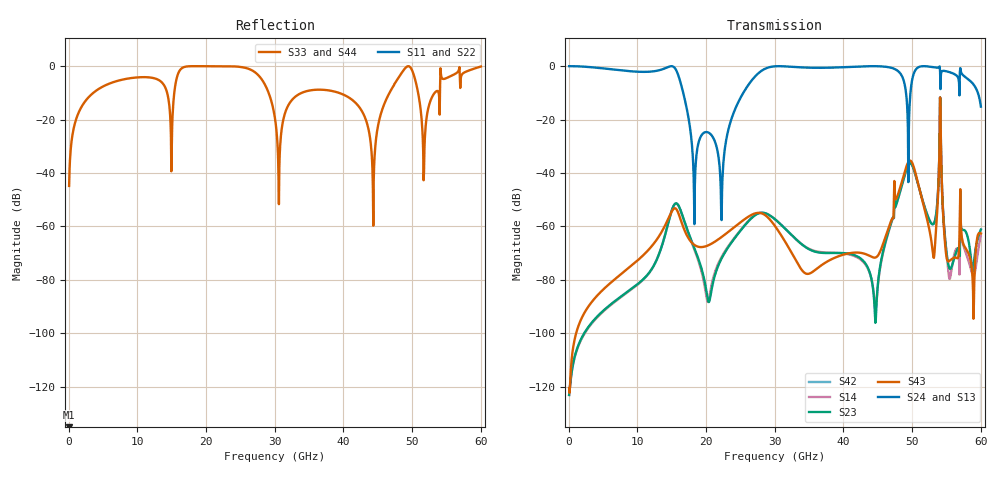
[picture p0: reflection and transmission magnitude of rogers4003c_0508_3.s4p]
! TOUCHSTONE file generated by CST MICROWAVE STUDIO
! Date and time: Wed Apr 16 11:32:49 2025
! Project name: LOSSLESS_rogers4003c_air_gapped_wideband_balanced.cst
! Parameters = {h=2; lambda=10; period=5; phi=0; theta=0; thickness=0.508; w_mesh_1=2; w_mesh_2=2; w_patch_1=1.6; w_patch_2=1.6}
! Header version: 2018
! Port assignment regex: !\s*Touchstone port\s*([0-9]+)\s*=\s*(CST MWS port|CST DS port)\s*([0-9]+|Zmin|Zmax)\s*\(\"(.*)\"\)(\s*mode\s*([0-9]+))?.*
! Touchstone port assignment:
! Touchstone port 1 = CST MWS port Zmin ("") mode 1
! Touchstone port 2 = CST MWS port Zmin ("") mode 2
! Touchstone port 3 = CST MWS port Zmax ("") mode 1
! Touchstone port 4 = CST MWS port Zmax ("") mode 2
! S-Parameters are not renormalized. Unphysical impedance of 50 will be written to the file.
# GHz S RI R 50
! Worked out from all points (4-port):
!   1002 points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, 60 MHz to 60 GHz, reference per port
!   strongest paths, dB at 60 MHz, 15 GHz, 30 GHz, 45 GHz, 60 GHz:
!     S24: 0.0, 0.0, -0.1, 0.0, -15.2
!     S13: 0.0, 0.0, -0.1, 0.0, -15.1
!     S43: -120.6, -54.4, -59.8, -71.0, -62.6
!     S23: -123.1, -54.0, -57.3, -81.8, -61.2
!     S14: -123.2, -54.1, -57.2, -82.2, -63.0
!     S42: -, -, -, -, -
!   lowest |S11| = - dB at 60 MHz (marker M1), VSWR 1.00
!   |S11| at or under -10 dB: start of sweep to end of sweep
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0.06  0 0  0 0  0.9999 -0.00567  1.05e-07 -6.87e-07
      0 0  0 0  1.16e-07 -6.9e-07  0.9999 -0.00567
      0 0  0 0  7.77e-06 -0.00572  3.52e-07 -8.73e-07
      0 0  0 0  3.49e-07 -8.7e-07  6.6e-06 -0.00573
15.3  0 0  0 0  -0.5018 -0.8242  -0.00174 0.00173
      0 0  0 0  -0.00172 0.00177  -0.5031 -0.8229
      0 0  0 0  0.2251 -0.135  0.00203 -0.000678
      0 0  0 0  0.00203 -0.000685  0.2264 -0.1359
22.2  0 0  0 0  0.00115 -0.00143  -0.000165 0.000202
      0 0  0 0  -0.000155 0.000188  0.00111 -0.00139
      0 0  0 0  -0.7791 -0.6269  -0.000401 0.000479
      0 0  0 0  -0.000401 0.000479  -0.7791 -0.6269
27.9  0 0  0 0  0.3104 0.727  0.00178 0.000285
      0 0  0 0  0.00177 0.000273  0.31 0.727
      0 0  0 0  -0.5627 0.2417  0.00162 0.000726
      0 0  0 0  0.00162 0.00073  -0.5631 0.2415
44.34  0 0  0 0  0.715 -0.699  -6.04e-05 -2.45e-05
       0 0  0 0  -5.28e-05 -3.23e-05  0.7158 -0.6982
       0 0  0 0  0.000674 0.000779  -0.000107 0.000223
       0 0  0 0  -9.77e-05 0.000243  -7.34e-05 0.00029
49.62  0 0  0 0  0.1546 0.1091  -0.0136 -0.0063
       0 0  0 0  -0.0137 -0.00638  0.1493 0.1067
       0 0  0 0  0.5671 -0.8015  0.0152 0.00751
       0 0  0 0  0.0152 0.00751  0.5743 -0.7975
60  0 0  0 0  -0.0744 -0.1587  -0.000164 -0.000693
    0 0  0 0  -0.00026 -0.000835  -0.0742 -0.158
    0 0  0 0  0.8915 -0.4177  0.000144 0.000588
    0 0  0 0  0.000214 0.000707  0.8914 -0.4183
